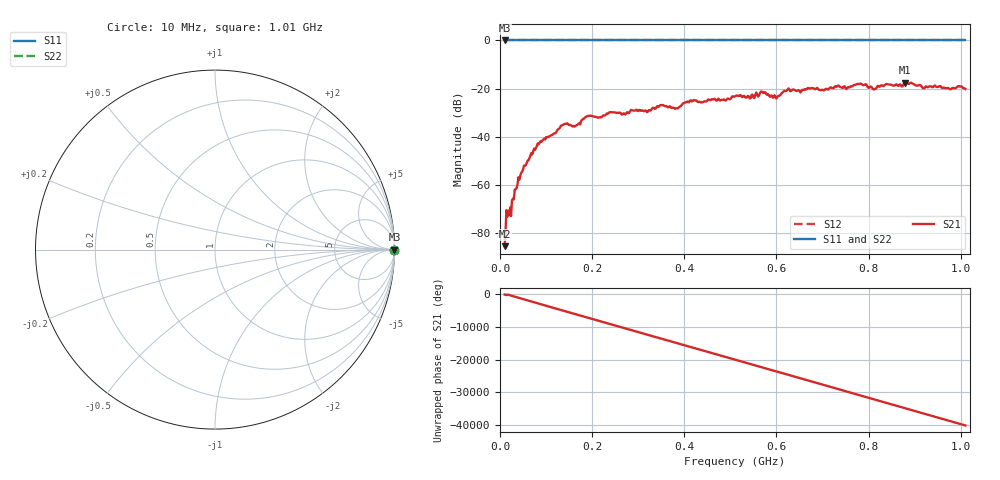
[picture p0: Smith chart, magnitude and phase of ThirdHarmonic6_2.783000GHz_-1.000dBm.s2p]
! 8/17/2025 7:09:08 AM
! C:\ANRITSUVNA\TEMP\TEMP.S2P
! CHANNEL.1
! TR.MEASUREMENT
! RAW.DATA
! RF.CORRECTION.OFF
! AVERAGING.OFF
! IF.BANDWIDTH: 5KHZ
! SWEEPTYPE:  FREQ.SWEEP(Linear)
! Reference Plane Port Info
! PORT:  PORT1  PORT2
! DISTANCE:  0  m  0  m
! TIME:  0  s  0  s
! PHASE.OFFSET:  0  deg.  0  deg.
! LOSS:  0  dB  0  dB
! REF.LOSS:  0  dB  0  dB
! REF.FREQ:  0  Hz  0  Hz
! Power Info
! POWER:  -20  dBm  -20  dBm
! EFF.POWER:  -20  dBm  -20  dBm
! SOURCE.ATTEN:  0  dB  0  dB
! TEST.ATTEN:  0  dB  0  dB
# GHZ S RI R 50.0
! FREQ.GHZ  S11RE  S11IM  S21RE  S21IM  S12RE  S12IM  S22RE  S22IM
!; PortSelection: Port_12
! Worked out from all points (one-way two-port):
!   501 points, 10 MHz to 1.01 GHz, reference 50 ohm
!   highest |S21| = -17.51 dB at 878 MHz (marker M1); lowest = -85.6 dB at 10 MHz (marker M2)
!   lowest |S11| = 0.0 dB at 10 MHz (marker M3)
!   |S11| at or under -10 dB: nowhere
!   |S22| runs from 0.0 to 0.0 dB; largest |S21 - S12| = 1.1
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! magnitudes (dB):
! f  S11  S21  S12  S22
! 10 MHz  0.0  -85.6  0.0  0.0
! 18 MHz  0.0  -70.9  0.0  0.0
! 20 MHz  0.0  -72.7  0.0  0.0
! 44 MHz  0.0  -56.3  0.0  0.0
! 78 MHz  0.0  -44.7  0.0  0.0
! 136 MHz  0.0  -35.3  0.0  0.0
! 162 MHz  0.0  -35.8  0.0  0.0
! 178 MHz  0.0  -33.0  0.0  0.0
! 192 MHz  0.0  -31.4  0.0  0.0
! 344 MHz  0.0  -27.6  0.0  0.0
! 382 MHz  0.0  -28.3  0.0  0.0
! 416 MHz  0.0  -25.4  0.0  0.0
! 510 MHz  0.0  -23.3  0.0  0.0
! 570 MHz  0.0  -21.6  0.0  0.0
! 596 MHz  0.0  -22.8  0.0  0.0
! 624 MHz  0.0  -20.4  0.0  0.0
! 678 MHz  0.0  -19.8  0.0  0.0
! 780 MHz  0.0  -18.1  0.0  0.0
! 812 MHz  0.0  -20.3  0.0  0.0
! 844 MHz  0.0  -18.4  0.0  0.0
! 878 MHz  0.0  -17.5  0.0  0.0
! 1.01 GHz  0.0  -20.2  0.0  0.0
